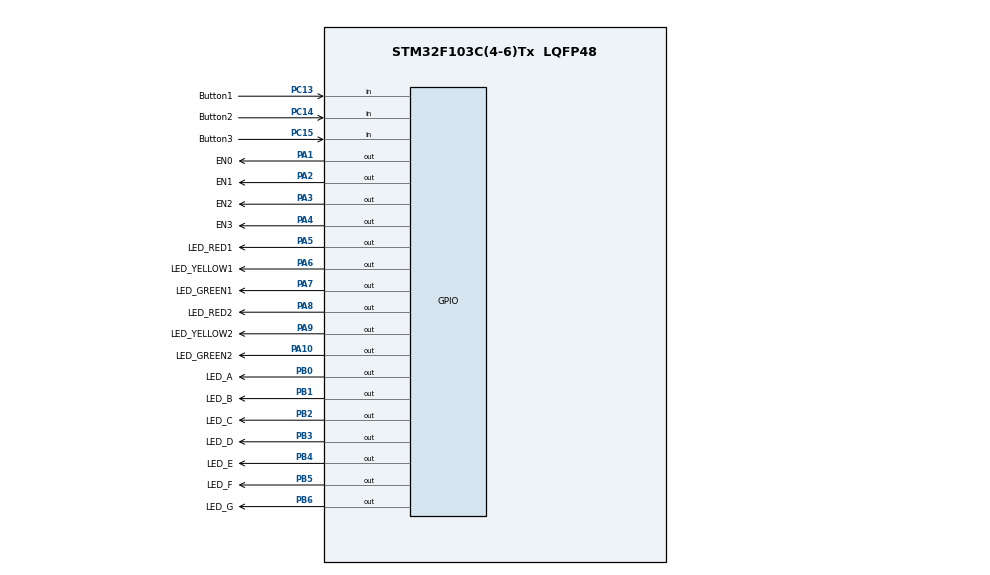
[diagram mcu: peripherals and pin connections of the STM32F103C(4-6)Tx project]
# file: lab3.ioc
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Mcu.Family=STM32F1
Mcu.Name=STM32F103C(4-6)Tx
Mcu.Package=LQFP48
NVIC.PriorityGroup=NVIC_PRIORITYGROUP_4
NVIC.TIM2_IRQn=true\:0\:0\:false\:false\:true\:true\:true
PA1.GPIO_Label=EN0
PA1.Signal=GPIO_Output
PA10.GPIO_Label=LED_GREEN2
PA10.Signal=GPIO_Output
PA2.GPIO_Label=EN1
PA2.Signal=GPIO_Output
PA3.GPIO_Label=EN2
PA3.Signal=GPIO_Output
PA4.GPIO_Label=EN3
PA4.Signal=GPIO_Output
PA5.GPIO_Label=LED_RED1
PA5.Signal=GPIO_Output
PA6.GPIO_Label=LED_YELLOW1
PA6.Signal=GPIO_Output
PA7.GPIO_Label=LED_GREEN1
PA7.Signal=GPIO_Output
PA8.GPIO_Label=LED_RED2
PA8.Signal=GPIO_Output
PA9.GPIO_Label=LED_YELLOW2
PA9.Signal=GPIO_Output
PB0.GPIO_Label=LED_A
PB0.Signal=GPIO_Output
PB1.GPIO_Label=LED_B
PB1.Signal=GPIO_Output
PB2.GPIO_Label=LED_C
PB2.Signal=GPIO_Output
PB3.GPIO_Label=LED_D
PB3.Signal=GPIO_Output
PB4.GPIO_Label=LED_E
PB4.Signal=GPIO_Output
PB5.GPIO_Label=LED_F
PB5.Signal=GPIO_Output
PB6.GPIO_Label=LED_G
PB6.Signal=GPIO_Output
PC13-TAMPER-RTC.GPIO_Label=Button1
PC13-TAMPER-RTC.GPIO_PuPd=GPIO_PULLUP
PC13-TAMPER-RTC.Signal=GPIO_Input
PC14-OSC32_IN.GPIO_Label=Button2
PC14-OSC32_IN.GPIO_PuPd=GPIO_PULLUP
PC14-OSC32_IN.Signal=GPIO_Input
PC15-OSC32_OUT.GPIO_Label=Button3
PC15-OSC32_OUT.GPIO_PuPd=GPIO_PULLUP
PC15-OSC32_OUT.Signal=GPIO_Input
ProjectManager.HeapSize=0x200
ProjectManager.StackSize=0x400
ProjectManager.TargetToolchain=STM32CubeIDE
RCC.APB1Freq_Value=8000000
RCC.APB2Freq_Value=8000000
TIM2.Period=9
TIM2.Prescaler=7999
VP_SYS_VS_ND.Mode=No_Debug
VP_TIM2_VS_ClockSourceINT.Mode=Internal
board=custom

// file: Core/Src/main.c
/* USER CODE BEGIN Header */
/**
  ******************************************************************************
  * @file           : main.c
  * @brief          : Main program body
  ******************************************************************************
  * @attention
  *
  * <h2><center>&copy; Copyright (c) 2023 STMicroelectronics.
  * All rights reserved.</center></h2>
  *
  * This software component is licensed by ST under BSD 3-Clause license,
  * the "License"; You may not use this file except in compliance with the
  * License. You may obtain a copy of the License at:
  *                        opensource.org/licenses/BSD-3-Clause
  *
  ******************************************************************************
  */
/* USER CODE END Header */
#include "main.h"
#include "fsm_automatic.h"
#include "fsm_manual.h"
#include "global.h"

TIM_HandleTypeDef htim2;

void SystemClock_Config(void);
static void MX_GPIO_Init(void);
static void MX_TIM2_Init(void);

int main(void)
{

  /* MCU Configuration--------------------------------------------------------*/

  /* Reset of all peripherals, Initializes the Flash interface and the Systick. */
  HAL_Init();

  /* Configure the system clock */
  SystemClock_Config();

  /* Initialize all configured peripherals */
  MX_GPIO_Init();
  MX_TIM2_Init();
  /* USER CODE BEGIN 2 */
  HAL_TIM_Base_Start_IT(&htim2);
  /* USER CODE END 2 */

  /* Infinite loop */
  /* USER CODE BEGIN WHILE */
	status1 = INIT;
	status2 = INIT;
	int led_idx = 0;
    HAL_GPIO_WritePin(EN0_GPIO_Port, EN0_Pin, SET);
    HAL_GPIO_WritePin(EN1_GPIO_Port, EN1_Pin, SET);
    HAL_GPIO_WritePin(EN2_GPIO_Port, EN2_Pin, SET);
    HAL_GPIO_WritePin(EN3_GPIO_Port, EN3_Pin, SET);
    setTimer4(10);
    while (1)
    {
    /* USER CODE END WHILE */
  	  fsm_automatic1_run();
  	  fsm_automatic2_run();
  	  fsm_manual_run();
    /* USER CODE BEGIN 3 */
    }
    /* USER CODE BEGIN 3 */
	  if (timer4_flag == 1){
		  setTimer4(10);
		  if (led_idx >= 4) led_idx = 0;
		  	  scanled(led_idx);
		  	  led_idx++;
	  }
  }
  /* USER CODE END 3 */

void SystemClock_Config(void)
{
  RCC_OscInitTypeDef RCC_OscInitStruct = {0};
  RCC_ClkInitTypeDef RCC_ClkInitStruct = {0};

  /** Initializes the RCC Oscillators according to the specified parameters
  * in the RCC_OscInitTypeDef structure.
  */
  RCC_OscInitStruct.OscillatorType = RCC_OSCILLATORTYPE_HSI;
  RCC_OscInitStruct.HSIState = RCC_HSI_ON;
  RCC_OscInitStruct.HSICalibrationValue = RCC_HSICALIBRATION_DEFAULT;
  RCC_OscInitStruct.PLL.PLLState = RCC_PLL_NONE;
  if (HAL_RCC_OscConfig(&RCC_OscInitStruct) != HAL_OK)
  {
    Error_Handler();
  }
  /** Initializes the CPU, AHB and APB buses clocks
  */
  RCC_ClkInitStruct.ClockType = RCC_CLOCKTYPE_HCLK|RCC_CLOCKTYPE_SYSCLK
                              |RCC_CLOCKTYPE_PCLK1|RCC_CLOCKTYPE_PCLK2;
  RCC_ClkInitStruct.SYSCLKSource = RCC_SYSCLKSOURCE_HSI;
  RCC_ClkInitStruct.AHBCLKDivider = RCC_SYSCLK_DIV1;
  RCC_ClkInitStruct.APB1CLKDivider = RCC_HCLK_DIV1;
  RCC_ClkInitStruct.APB2CLKDivider = RCC_HCLK_DIV1;

  if (HAL_RCC_ClockConfig(&RCC_ClkInitStruct, FLASH_LATENCY_0) != HAL_OK)
  {
    Error_Handler();
  }
}

static void MX_TIM2_Init(void)
{

  TIM_ClockConfigTypeDef sClockSourceConfig = {0};
  TIM_MasterConfigTypeDef sMasterConfig = {0};

  htim2.Instance = TIM2;
  htim2.Init.Prescaler = 7999;
  htim2.Init.CounterMode = TIM_COUNTERMODE_UP;
  htim2.Init.Period = 9;
  htim2.Init.ClockDivision = TIM_CLOCKDIVISION_DIV1;
  htim2.Init.AutoReloadPreload = TIM_AUTORELOAD_PRELOAD_DISABLE;
  if (HAL_TIM_Base_Init(&htim2) != HAL_OK)
  {
    Error_Handler();
  }
  sClockSourceConfig.ClockSource = TIM_CLOCKSOURCE_INTERNAL;
  if (HAL_TIM_ConfigClockSource(&htim2, &sClockSourceConfig) != HAL_OK)
  {
    Error_Handler();
  }
  sMasterConfig.MasterOutputTrigger = TIM_TRGO_RESET;
  sMasterConfig.MasterSlaveMode = TIM_MASTERSLAVEMODE_DISABLE;
  if (HAL_TIMEx_MasterConfigSynchronization(&htim2, &sMasterConfig) != HAL_OK)
  {
    Error_Handler();
  }

}

static void MX_GPIO_Init(void)
{
  GPIO_InitTypeDef GPIO_InitStruct = {0};

  /* GPIO Ports Clock Enable */
  __HAL_RCC_GPIOC_CLK_ENABLE();
  __HAL_RCC_GPIOA_CLK_ENABLE();
  __HAL_RCC_GPIOB_CLK_ENABLE();

  /*Configure GPIO pin Output Level */
  HAL_GPIO_WritePin(GPIOA, EN0_Pin|EN1_Pin|EN2_Pin|EN3_Pin
                          |LED_RED1_Pin|LED_YELLOW1_Pin|LED_GREEN1_Pin|LED_RED2_Pin
                          |LED_YELLOW2_Pin|LED_GREEN2_Pin, GPIO_PIN_RESET);

  /*Configure GPIO pin Output Level */
  HAL_GPIO_WritePin(GPIOB, LED_A_Pin|LED_B_Pin|LED_C_Pin|LED_D_Pin
                          |LED_E_Pin|LED_F_Pin|LED_G_Pin, GPIO_PIN_RESET);

  /*Configure GPIO pins : Button1_Pin Button2_Pin Button3_Pin */
  GPIO_InitStruct.Pin = Button1_Pin|Button2_Pin|Button3_Pin;
  GPIO_InitStruct.Mode = GPIO_MODE_INPUT;
  GPIO_InitStruct.Pull = GPIO_PULLUP;
  HAL_GPIO_Init(GPIOC, &GPIO_InitStruct);

  /*Configure GPIO pins : EN0_Pin EN1_Pin EN2_Pin EN3_Pin
                           LED_RED1_Pin LED_YELLOW1_Pin LED_GREEN1_Pin LED_RED2_Pin
                           LED_YELLOW2_Pin LED_GREEN2_Pin */
  GPIO_InitStruct.Pin = EN0_Pin|EN1_Pin|EN2_Pin|EN3_Pin
                          |LED_RED1_Pin|LED_YELLOW1_Pin|LED_GREEN1_Pin|LED_RED2_Pin
                          |LED_YELLOW2_Pin|LED_GREEN2_Pin;
  GPIO_InitStruct.Mode = GPIO_MODE_OUTPUT_PP;
  GPIO_InitStruct.Pull = GPIO_NOPULL;
  GPIO_InitStruct.Speed = GPIO_SPEED_FREQ_LOW;
  HAL_GPIO_Init(GPIOA, &GPIO_InitStruct);

  /*Configure GPIO pins : LED_A_Pin LED_B_Pin LED_C_Pin LED_D_Pin
                           LED_E_Pin LED_F_Pin LED_G_Pin */
  GPIO_InitStruct.Pin = LED_A_Pin|LED_B_Pin|LED_C_Pin|LED_D_Pin
                          |LED_E_Pin|LED_F_Pin|LED_G_Pin;
  GPIO_InitStruct.Mode = GPIO_MODE_OUTPUT_PP;
  GPIO_InitStruct.Pull = GPIO_NOPULL;
  GPIO_InitStruct.Speed = GPIO_SPEED_FREQ_LOW;
  HAL_GPIO_Init(GPIOB, &GPIO_InitStruct);

}

/* USER CODE BEGIN 4 */
void HAL_TIM_PeriodElapsedCallback(TIM_HandleTypeDef *htim)
{
	timer1Run();
	timer2Run();
	timer3Run();
	timer4Run();
	timer5Run();
	getKeyInput1();
	getKeyInput2();
	getKeyInput3();
	update_buffer();
}
/* USER CODE END 4 */

void Error_Handler(void)
{
  __disable_irq();
  while (1)
  {
  }
}

/************************ (C) COPYRIGHT STMicroelectronics *****END OF FILE****/
